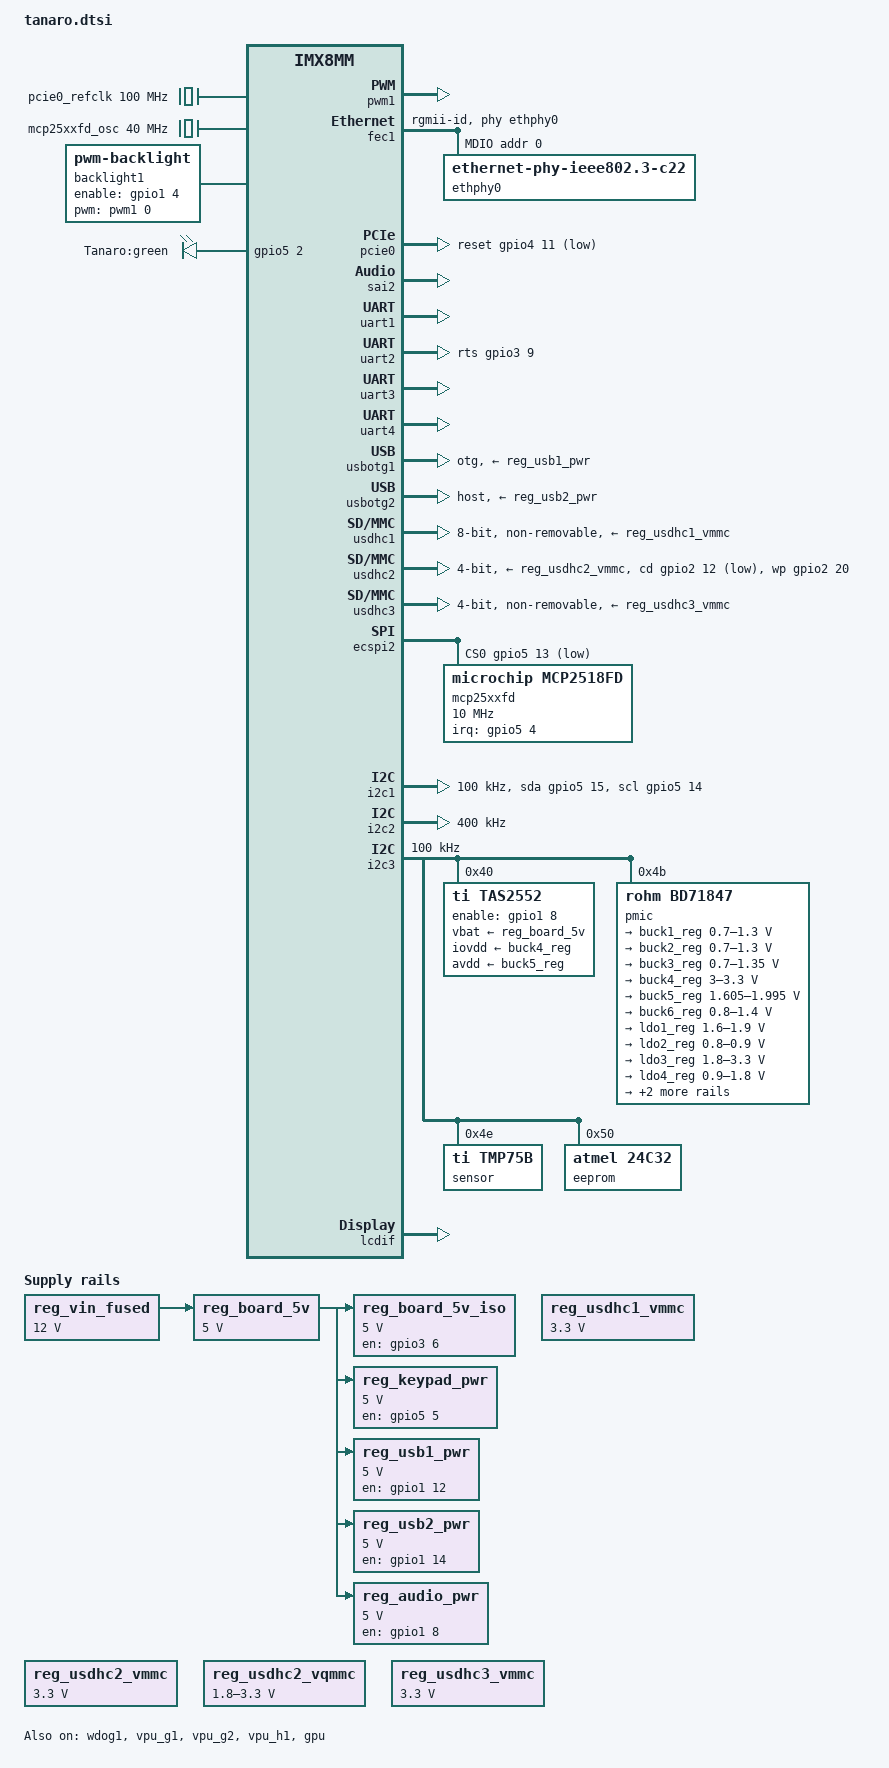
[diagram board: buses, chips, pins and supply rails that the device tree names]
/*
 * Copyright 2020 Keith & Koep GmbH
 */

/*
Switches:

*/

#include "imx8mm.dtsi"
#include "tanaro-pinfunc.h"

/ {
	aliases {
		rtc0 = &rtc;
		rtc1 = &snvs_rtc;
	};

	reserved-memory {
		#address-cells = <2>;
		#size-cells = <2>;
		ranges;

		rpmsg_reserved: rpmsg@0xb8000000 {
			no-map;
			reg = <0 0xb8000000 0 0x400000>;
		};
	};

	pcie0_refclk: pcie0-refclk {
		compatible = "fixed-clock";
		#clock-cells = <0>;
		clock-frequency = <100000000>;
	};

	mcp25xxfd_osc: mcp25xxfd_osc {
		compatible = "fixed-clock";
		#clock-cells = <0>;
		clock-frequency = <40000000>;
	};

	reg_vin_fused: vin_fused {
		compatible = "regulator-fixed";
		regulator-name = "VIN_FUSED";
		regulator-min-microvolt = <12000000>;
		regulator-max-microvolt = <12000000>;
		regulator-always-on;
	};

	reg_board_5v: 5v {
		compatible = "regulator-fixed";
		regulator-name = "+5V";
		regulator-min-microvolt = <5000000>;
		regulator-max-microvolt = <5000000>;
		regulator-always-on;
		vin-supply = <&reg_vin_fused>;
	};

	reg_board_5v_iso: 5v_iso {
		compatible = "regulator-fixed";
		regulator-name = "+5V_ISO";
		regulator-min-microvolt = <5000000>;
		regulator-max-microvolt = <5000000>;
		pinctrl-names = "default";
		pinctrl-0 = <&pinctrl_5v_iso_enable>;
		gpio = <&gpio3 6 1>;
		enable-active-high;
		regulator-always-on;
		vin-supply = <&reg_board_5v>;
	};

	reg_keypad_pwr: keypad-pwr {
		compatible = "regulator-fixed";
		regulator-name = "Keypad PWR";
		regulator-min-microvolt = <5000000>;
		regulator-max-microvolt = <5000000>;
		pinctrl-names = "default";
		pinctrl-0 = <&pinctrl_keypad_pen>;
		gpio = <&gpio5 5 1>;
		enable-active-high;
		regulator-always-on;
		vin-supply = <&reg_board_5v>;
	};

	reg_usb1_pwr: usb1-pwr {
		compatible = "regulator-fixed";
		regulator-name = "USB1 PWR";
		regulator-min-microvolt = <5000000>;
		regulator-max-microvolt = <5000000>;
		pinctrl-names = "default";
		pinctrl-0 = <&pinctrl_usb1_enable>;
		gpio = <&gpio1 12 1>;
		enable-active-high;
		vin-supply = <&reg_board_5v>;
	};

	reg_usb2_pwr: usb2-pwr {
		compatible = "regulator-fixed";
		regulator-name = "USB2 PWR";
		regulator-min-microvolt = <5000000>;
		regulator-max-microvolt = <5000000>;
		pinctrl-names = "default";
		pinctrl-0 = <&pinctrl_usb2_enable>;
		gpio = <&gpio1 14 1>;
		enable-active-high;
		regulator-always-on;
		vin-supply = <&reg_board_5v>;
	};

	reg_usdhc1_vmmc: usdhc1_vmmc {
		compatible = "regulator-fixed";
		regulator-name = "VMMC_USDHC1";
		regulator-min-microvolt = <3300000>;
		regulator-max-microvolt = <3300000>;
		enable-active-high;
	};

	reg_usdhc2_vmmc: regulator-usdhc2 {
		compatible = "regulator-fixed";
		regulator-name = "VMMC_USDHC2";
		regulator-min-microvolt = <3300000>;
		regulator-max-microvolt = <3300000>;
		enable-active-high;
	};

	reg_usdhc2_vqmmc: regulator-usdhc2-vqmmc {
		compatible = "regulator-gpio";
		regulator-name = "VDDIO_USDHC2";
		regulator-min-microvolt = <1800000>;
		regulator-max-microvolt = <3300000>;
		pinctrl-names = "default";
		pinctrl-0 = <&pinctrl_sd_vsel>;
		gpios = <&gpio4 22 GPIO_ACTIVE_HIGH>;
		gpios-states = <1>;
		states = <1800000 1>, <3300000 0>;
	};

	reg_usdhc3_vmmc: regulator-usdhc3 {
		compatible = "regulator-fixed";
		regulator-name = "VMMC_USDHC3";
		regulator-min-microvolt = <3300000>;
		regulator-max-microvolt = <3300000>;
		enable-active-high;
	};

	reg_audio_pwr: audio-pwr {
		compatible = "regulator-fixed";
		regulator-name = "AUDIO PWR";
		regulator-min-microvolt = <5000000>;
		regulator-max-microvolt = <5000000>;
		pinctrl-names = "default";
		pinctrl-0 = <&pinctrl_audio_enable>;
		gpio = <&gpio1 8 1>;
		enable-active-high;
		regulator-always-on;
		vin-supply = <&reg_board_5v>;
	};

	sound-tas2552 {
		compatible = "simple-audio-card";
		simple-audio-card,name = "tas2552-audio";
		simple-audio-card,format = "i2s";
		simple-audio-card,frame-master = <&cpudai>;
		simple-audio-card,bitclock-master = <&cpudai>;

		cpudai: simple-audio-card,cpu {
			sound-dai = <&sai2>;
			dai-tdm-slot-num = <2>;
			dai-tdm-slot-width = <32>;
		};

		simple-audio-card,codec {
			sound-dai = <&tas2552>;
			clocks = <&clk IMX8MM_CLK_SAI2_ROOT>;
		};
	};

	backlight1: backlight {
		compatible = "pwm-backlight";
		pwms = <&pwm1 0 100000 0>;
		brightness-levels = < 0  1  2  3  4  5  6  7  8  9
				     10 11 12 13 14 15 16 17 18 19
				     20 21 22 23 24 25 26 27 28 29
				     30 31 32 33 34 35 36 37 38 39
				     40 41 42 43 44 45 46 47 48 49
				     50 51 52 53 54 55 56 57 58 59
				     60 61 62 63 64 65 66 67 68 69
				     70 71 72 73 74 75 76 77 78 79
				     80 81 82 83 84 85 86 87 88 89
				     90 91 92 93 94 95 96 97 98 99
				    100>;
		default-brightness-level = <80>;
		status = "okay";
	};

	leds {
		compatible = "gpio-leds";

		status_led {
			pinctrl-names         = "default";
			pinctrl-0             = <&pinctrl_led_status>;
			label                 = "Tanaro:green";
			linux,default-trigger = "heartbeat";
			gpios                 = <&gpio5 2 0>;
		};
	};
};

&pwm1 {
	pinctrl-names = "default";
	pinctrl-0 = <&pinctrl_backlight_pwm1>;
	status = "okay";
};

&backlight1 {
	status = "okay";
	pinctrl-names = "default";
	pinctrl-0 = <&pinctrl_backlight_enable>;
	enable-gpios = <&gpio1 4 GPIO_ACTIVE_HIGH>;
};

&A53_0 {
	cpu-supply = <&buck2_reg>;
};

&fec1 {
	pinctrl-names = "default";
	pinctrl-0 = <&pinctrl_fec1>;
	phy-mode = "rgmii-id";
	phy-handle = <&ethphy0>;
	fsl,magic-packet;
	status = "okay";

	mdio {
		#address-cells = <1>;
		#size-cells = <0>;

		ethphy0: ethernet-phy@0 {
			compatible = "ethernet-phy-ieee802.3-c22";
			reg = <0>;
			at803x,eee-disabled;
			at803x,vddio-1p8v;
		};
	};
};

&pcie0{
	pinctrl-names   = "default";
	pinctrl-0       = <&pinctrl_pcie0>;
	disable-gpio    = <&gpio3 3 GPIO_ACTIVE_LOW>;
	reset-gpio      = <&gpio4 11 GPIO_ACTIVE_LOW>;
	clocks          = <&clk IMX8MM_CLK_PCIE1_ROOT>,
			<&clk IMX8MM_CLK_PCIE1_AUX>,
			<&clk IMX8MM_CLK_PCIE1_PHY>,
			<&pcie0_refclk>;
	clock-names = "pcie", "pcie_aux", "pcie_phy", "pcie_bus";
	assigned-clocks = <&clk IMX8MM_CLK_PCIE1_AUX>,
                          <&clk IMX8MM_CLK_PCIE1_PHY>,
                          <&clk IMX8MM_CLK_PCIE1_CTRL>;
        assigned-clock-rates = <10000000>, <100000000>, <250000000>;
        assigned-clock-parents = <&clk IMX8MM_SYS_PLL2_50M>,
                                 <&clk IMX8MM_SYS_PLL2_100M>,
                                 <&clk IMX8MM_SYS_PLL2_250M>;
	hard-wired      = <1>;
	ext_osc         = <0>;
	reserved-region = <&rpmsg_reserved>;
	status = "okay";
};

&sai2 {
	#sound-dai-cells = <0>;
	pinctrl-names = "default";
	pinctrl-0 = <&pinctrl_sai2>;
	assigned-clocks = <&clk IMX8MM_CLK_SAI2>;
	assigned-clock-parents = <&clk IMX8MM_AUDIO_PLL2_OUT>;
	assigned-clock-rates = <22579200>;
	status = "okay";
};

&snvs_pwrkey {
	status = "disabled";
};

&uart1 {    /* UART1 as RS232 or UART*/
	pinctrl-names = "default";
	pinctrl-0 = <&pinctrl_uart1>;
	assigned-clocks = <&clk IMX8MM_CLK_UART1>;
	assigned-clock-parents = <&clk IMX8MM_SYS_PLL1_80M>;
	fsl,uart-has-rtscts;
	status = "okay";
};

&uart2 {    /* UART2 as RS485_1 or UART */
	pinctrl-names = "default";
	pinctrl-0 = <&pinctrl_uart2 &pinctrl_rs485_1_de>;
	assigned-clocks = <&clk IMX8MM_CLK_UART2>;
	assigned-clock-parents = <&clk IMX8MM_SYS_PLL1_80M>;
	status = "okay";

	// RS485 Mode
	rts-gpios = <&gpio3 9 GPIO_ACTIVE_HIGH>; // GPIO to control the transmitter
	// rs485-rx-during-tx;  // Halfduplex vs Fullduplex ?

	// UART Mode
	//uart-has-rtscts; // Not used in RS485 mode.
};

&uart3 {    /* UART3 to BTUART or UART3 (default: UART3). UART3 to as UART or RS232_xx_MDB*/
	pinctrl-names = "default";
	pinctrl-0 = <&pinctrl_uart3>;
	assigned-clocks = <&clk IMX8MM_CLK_UART3>;
	assigned-clock-parents = <&clk IMX8MM_SYS_PLL1_80M>;
	fsl,uart-has-rtscts;
	status = "okay";
};

&uart4 {    /* UART4 to BT_UART or RS485_2 or UART (default: BTUART)*/
	pinctrl-names = "default";
	pinctrl-0 = <&pinctrl_uart4>;
	assigned-clocks = <&clk IMX8MM_CLK_UART4>;
	assigned-clock-parents = <&clk IMX8MM_SYS_PLL1_80M>;
	status = "okay";
};


&usbotg1 {
	dr_mode = "otg";
	vbus-supply = <&reg_usb1_pwr>;
	disable-over-current;
	hnp-disable;
	srp-disable;
	adp-disable;
	picophy,pre-emp-curr-control = <3>;
	picophy,dc-vol-level-adjust = <7>;
	status = "okay";
};

&usbotg2 {
	dr_mode = "host";
	vbus-supply = <&reg_usb2_pwr>;
	disable-over-current;
	hnp-disable;
	srp-disable;
	adp-disable;
	usb-role-switch;
	picophy,pre-emp-curr-control = <3>;
	picophy,dc-vol-level-adjust = <7>;
	status = "okay";
};

&usdhc1 {   /* eMMC */
	assigned-clock-rates = <200000000>;
	pinctrl-names = "default", "state_100mhz", "state_200mhz";
	pinctrl-0 = <&pinctrl_usdhc1>, <&pinctrl_usdhc1_gpio>;
	pinctrl-1 = <&pinctrl_usdhc1_100mhz>, <&pinctrl_usdhc1_gpio>;
	pinctrl-2 = <&pinctrl_usdhc1_200mhz>, <&pinctrl_usdhc1_gpio>;
	bus-width = <8>;
	vmmc-supply = <&reg_usdhc1_vmmc>;
	non-removable;
	status = "okay";
};

&usdhc2 {   /* SD-Card Slot */
	pinctrl-names = "default", "state_100mhz", "state_200mhz";
	pinctrl-0 = <&pinctrl_usdhc2>, <&pinctrl_usdhc2_gpio>;
	pinctrl-1 = <&pinctrl_usdhc2_100mhz>, <&pinctrl_usdhc2_gpio>;
	pinctrl-2 = <&pinctrl_usdhc2_200mhz>, <&pinctrl_usdhc2_gpio>;
	cd-gpios = <&gpio2 12 GPIO_ACTIVE_LOW>;
	wp-gpios = <&gpio2 20 GPIO_ACTIVE_HIGH>;
	bus-width = <4>;
	vmmc-supply = <&reg_usdhc2_vmmc>;
	pm-ignore-notify;
	keep-power-in-suspend;
	vqmmc-supply = <&reg_usdhc2_vqmmc>;
	status = "okay";
};

&usdhc3 {   /* Wifi/BT module */
	pinctrl-names = "default", "state_100mhz", "state_200mhz";
	pinctrl-0 = <&pinctrl_usdhc3>, <&pinctrl_usdhc3_gpio>;
	pinctrl-1 = <&pinctrl_usdhc3_100mhz>, <&pinctrl_usdhc3_gpio>;
	pinctrl-2 = <&pinctrl_usdhc3_200mhz>, <&pinctrl_usdhc3_gpio>;
	bus-width = <4>;
	vmmc-supply = <&reg_usdhc3_vmmc>;
	pm-ignore-notify;
	keep-power-in-suspend;
	non-removable;
	no-1-8-v;
	status = "okay";
};

&ecspi2 {
	#address-cells = <1>;
	#size-cells = <0>;
	fsl,spi-num-chipselects = <1>;
	pinctrl-names = "default";
	pinctrl-0 = <&pinctrl_ecspi2 &pinctrl_ecspi2_cs>;
	cs-gpios = <&gpio5 13 GPIO_ACTIVE_LOW>;
	status = "okay";

	mcp25xxfd: mcp25xxfd@0 {
		compatible = "microchip,mcp2518fd";
		reg = <0>;
		clocks = <&mcp25xxfd_osc>;
		interrupt-parent = <&gpio5>;
		interrupts = <4 IRQ_TYPE_LEVEL_LOW>;
		pinctrl-names = "default";
		pinctrl-0 = <&pinctrl_mcp25xxfd_int>;
		spi-max-frequency = <10000000>;
		status = "okay";
	};
};

&wdog1 {
	pinctrl-names = "default";
	pinctrl-0 = <&pinctrl_wdog>;
	fsl,ext-reset-output;
	status = "okay";
};

&i2c1 { /* Camera and Keypad */
	clock-frequency = <100000>;
	pinctrl-names = "default", "gpio";
	pinctrl-0 = <&pinctrl_i2c1>;
	pinctrl-1 = <&pinctrl_i2c1_gpio>;
	scl-gpios = <&gpio5 14 GPIO_ACTIVE_HIGH>;
	sda-gpios = <&gpio5 15 GPIO_ACTIVE_HIGH>;
	status = "okay";
};

&i2c2 { /* Touch */
	clock-frequency = <400000>;
	pinctrl-names = "default";
	pinctrl-0 = <&pinctrl_i2c2>;
	status = "okay";

	stmpe811@41 {
		compatible = "st,stmpe811";
		reg = <0x41>;
		#address-cells = <1>;
		#size-cells = <0>;

		pinctrl-names = "default";
		pinctrl-0 = <&pinctrl_touchint>;
		interrupts = <4 IRQ_TYPE_LEVEL_LOW>;
		interrupt-parent = <&gpio3>;
		interrupt-controller;

		id = <0>;
		blocks = <0x5>;
		irq-trigger = <0x1>;
		/* Common ADC settings */
		/* 3.25 MHz ADC clock speed */
		st,adc-freq = <1>;
		/* 12-bit ADC */
		st,mod-12b = <1>;
		/* internal ADC reference */
		st,ref-sel = <0>;
		/* ADC converstion time: 80 clocks */
		st,sample-time = <4>;

		status = "disabled";

		stmpe_touchscreen {
			compatible = "st,stmpe-ts";
			reg = <0>;
			/* 8 sample average control */
			st,ave-ctrl = <3>;
			/* 5 ms touch detect interrupt delay */
			st,touch-det-delay = <5>;
			/* 1 ms panel driver settling time */
			st,settling = <3>;
			/* 7 length fractional part in z */
			st,fraction-z = <7>;
			/*
			 * 50 mA typical 80 mA max touchscreen drivers
			 * current limit value
			 */
			st,i-drive = <1>;
		};

		stmpe_adc {
			compatible = "st,stmpe-adc";
			st,norequest-mask = <0x0F>;
		};
	};
};

&i2c3 { /* Internal I2C */
	clock-frequency = <100000>;
	pinctrl-names = "default";
	pinctrl-0 = <&pinctrl_i2c3>;
	status = "okay";

	/*
		The TANARO has two different options for the RTC.
		Which RTC is present is determined during the
		images post-install action. The "rtc" node is
		then updated via an overlay.
		The node has to be updated this way, because
		changing the alias doesn't work and we need
		the RTC to be present as rtc0 (a requirement
		of the hwclock utility).
	*/
	rtc: rtc {
		status = "disabled";
	};

	tas2552: tas2552@40 {
		#sound-dai-cells = <0>;
		compatible = "ti,tas2552";
		reg = <0x40>;
		vbat-supply = <&reg_board_5v>;
		iovdd-supply = <&buck4_reg>;
		avdd-supply = <&buck5_reg>;
		enable-gpio = <&gpio1 8 GPIO_ACTIVE_HIGH>;
	};

	/*
		We are still missing a driver for the A71CH.
		For now, we add the secure element as dummy
		device to the bus.
	*/
	secure_element: a71cf@48 {
		compatible = "";
		pinctrl-0 = <&pinctrl_secure_element>;
		pinctrl-names = "default";
		reg = <0x48>;
		status = "disabled";
	};

	pmic@4b {
		compatible = "rohm,bd71847";
		reg = <0x4b>;
		rohm,reset-snvs-powered;

		regulators {
			buck1_reg: BUCK1 {  // VDD_SOC_0V8
				regulator-name = "BUCK1";
				regulator-min-microvolt = <700000>;
				regulator-max-microvolt = <1300000>;
				regulator-boot-on;
				regulator-always-on;
				regulator-ramp-delay = <1250>;
			};

			buck2_reg: BUCK2 {  // VDD_SOC_0V9
				regulator-name = "BUCK2";
				regulator-min-microvolt = <700000>;
				regulator-max-microvolt = <1300000>;
				regulator-boot-on;
				regulator-always-on;
				regulator-ramp-delay = <1250>;
				rohm,dvs-run-voltage = <1000000>;
				rohm,dvs-idle-voltage = <900000>;
			};

			buck3_reg: BUCK3 {  // VDD_DRAM_PU_0V9
				// BUCK5 in datasheet
				regulator-name = "BUCK3";
				regulator-min-microvolt = <700000>;
				regulator-max-microvolt = <1350000>;
				regulator-boot-on;
				regulator-always-on;
			};

			buck4_reg: BUCK4 {  // +3V3_AUX
				// BUCK6 in datasheet
				regulator-name = "BUCK4";
				regulator-min-microvolt = <3000000>;
				regulator-max-microvolt = <3300000>;
				regulator-boot-on;
				regulator-always-on;
			};

			buck5_reg: BUCK5 {  // VDD_1V8
				// BUCK7 in datasheet
				regulator-name = "BUCK5";
				regulator-min-microvolt = <1605000>;
				regulator-max-microvolt = <1995000>;
				regulator-boot-on;
				regulator-always-on;
			};

			buck6_reg: BUCK6 {  // NVCC_DRAM_1V1
				// BUCK8 in datasheet
				regulator-name = "BUCK6";
				regulator-min-microvolt = <800000>;
				regulator-max-microvolt = <1400000>;
				regulator-boot-on;
				regulator-always-on;
			};

			ldo1_reg: LDO1 {    // NVCC_SNVS_1V8
				regulator-name = "LDO1";
				regulator-min-microvolt = <1600000>;
				regulator-max-microvolt = <1900000>;
				regulator-boot-on;
				regulator-always-on;
			};

			ldo2_reg: LDO2 {    // VDD_SNVS_0V8
				regulator-name = "LDO2";
				regulator-min-microvolt = <800000>;
				regulator-max-microvolt = <900000>;
				regulator-boot-on;
				regulator-always-on;
			};

			ldo3_reg: LDO3 {    // VDDA_1V8
				regulator-name = "LDO3";
				regulator-min-microvolt = <1800000>;
				regulator-max-microvolt = <3300000>;
				regulator-boot-on;
				regulator-always-on;
			};

			ldo4_reg: LDO4 {    // VDD_PHY_0V9
				regulator-name = "LDO4";
				regulator-min-microvolt = <900000>;
				regulator-max-microvolt = <1800000>;
				regulator-boot-on;
				regulator-always-on;
			};

			ldo5_reg: LDO5 {    // VDD_FPGA_MIPI
				regulator-name = "LDO5";
				regulator-min-microvolt = <800000>;
				regulator-max-microvolt = <3300000>;
				regulator-boot-on;
				regulator-always-on;
			};

			ldo6_reg: LDO6 {    // VDD_PHY_1V2
				regulator-name = "LDO6";
				regulator-min-microvolt = <900000>;
				regulator-max-microvolt = <1800000>;
				regulator-boot-on;
				regulator-always-on;
			};
		};
	};

	sensor@4e {
		compatible = "ti,tmp75b";
		reg = <0x4E>;
	};

	eeprom@50 {
		compatible = "atmel,24c32";
		reg = <0x50>;
		pagesize = <32>;
	};
};


&iomuxc {
	pinctrl-names = "default";
	pinctrl-0 = <&pinctrl_hog>;

	pinctrl_hog: hoggrp {
		fsl,pins = <
			CAMERA_PWDN		PAD_GPIO_PU   /* Camera Pwdn  */
			CAMERA_RESET		PAD_GPIO_PU   /* Camera nRST  */
			>;
	};

	pinctrl_fec1: fec1grp {
		fsl,pins = <
			MX8MM_IOMUXC_ENET_MDC_ENET1_MDC			0x3
			MX8MM_IOMUXC_ENET_MDIO_ENET1_MDIO		0x3
			MX8MM_IOMUXC_ENET_TD3_ENET1_RGMII_TD3		0x1f
			MX8MM_IOMUXC_ENET_TD2_ENET1_RGMII_TD2		0x1f
			MX8MM_IOMUXC_ENET_TD1_ENET1_RGMII_TD1		0x1f
			MX8MM_IOMUXC_ENET_TD0_ENET1_RGMII_TD0		0x1f
			MX8MM_IOMUXC_ENET_RD3_ENET1_RGMII_RD3		0x91
			MX8MM_IOMUXC_ENET_RD2_ENET1_RGMII_RD2		0x91
			MX8MM_IOMUXC_ENET_RD1_ENET1_RGMII_RD1		0x91
			MX8MM_IOMUXC_ENET_RD0_ENET1_RGMII_RD0		0x91
			MX8MM_IOMUXC_ENET_TXC_ENET1_RGMII_TXC		0x1f
			MX8MM_IOMUXC_ENET_RXC_ENET1_RGMII_RXC		0x91
			MX8MM_IOMUXC_ENET_RX_CTL_ENET1_RGMII_RX_CTL	0x91
			MX8MM_IOMUXC_ENET_TX_CTL_ENET1_RGMII_TX_CTL	0x1f
			MX8MM_IOMUXC_GPIO1_IO09_GPIO1_IO9		0x19    /* ENET_RESET */
			MX8MM_IOMUXC_GPIO1_IO10_GPIO1_IO10		0x19    /* ENET_WOL */
			MX8MM_IOMUXC_GPIO1_IO11_GPIO1_IO11		0x19    /* ENET_INT */
		>;
	};

	pinctrl_keypad: keypad_grp {
		fsl,pins = <
			MX8MM_IOMUXC_SAI1_RXC_GPIO4_IO1		0x00000116
			MX8MM_IOMUXC_SAI1_RXFS_GPIO4_IO0	0x00000116
			MX8MM_IOMUXC_SAI3_RXFS_GPIO4_IO28	0x00000116
			MX8MM_IOMUXC_SAI3_TXC_GPIO5_IO0		0x00001916
			MX8MM_IOMUXC_SAI3_TXD_GPIO5_IO1		0x00000116
			MX8MM_IOMUXC_SPDIF_TX_GPIO5_IO3		0x00000116
		>;
	};

	pinctrl_i2c1: i2c1grp {
		fsl,pins = <
			MX8MM_IOMUXC_I2C1_SCL_I2C1_SCL			0x400001c3
			MX8MM_IOMUXC_I2C1_SDA_I2C1_SDA			0x400001c3
		>;
	};

	pinctrl_i2c1_gpio: i2c1_gpio_grp {
		fsl,pins = <
			MX8MM_IOMUXC_I2C1_SCL_GPIO5_IO14	0x00000116
			MX8MM_IOMUXC_I2C1_SDA_GPIO5_IO15	0x00000116
		>;
	};

	pinctrl_i2c2: i2c2grp {
		fsl,pins = <
			MX8MM_IOMUXC_I2C2_SCL_I2C2_SCL			0x400001c3
			MX8MM_IOMUXC_I2C2_SDA_I2C2_SDA			0x400001c3
		>;
	};

	pinctrl_touchint: touchintgrp {
		fsl,pins = <
			MX8MM_IOMUXC_NAND_CE3_B_GPIO3_IO4       0x00000016  /* TOUCH_INT */
		>;
	};

	pinctrl_i2c3: i2c3grp {
		fsl,pins = <
			MX8MM_IOMUXC_I2C3_SCL_I2C3_SCL			0x400001c3
			MX8MM_IOMUXC_I2C3_SDA_I2C3_SDA			0x400001c3
		>;
	};

	pinctrl_pcie0: pcie0grp {
		fsl,pins = <
			MX8MM_IOMUXC_NAND_CE2_B_GPIO3_IO3	    0x41       /* PCIE_W_DISABLE     */
			MX8MM_IOMUXC_SAI1_TXC_GPIO4_IO11	    0x00000116 /* PCIE_RESET         */
			MX8MM_IOMUXC_NAND_CE1_B_GPIO3_IO2	    0x41       /* PCIE_WAKE          */
			>;
	};

	pinctrl_sai2: sai2grp {
		fsl,pins = <
			MX8MM_IOMUXC_SAI2_TXFS_SAI2_TX_SYNC	    0xd6
			MX8MM_IOMUXC_SAI2_TXC_SAI2_TX_BCLK	    0xd6
			MX8MM_IOMUXC_SAI2_MCLK_SAI2_MCLK	    0xd6
			MX8MM_IOMUXC_SAI2_TXD0_SAI2_TX_DATA0	0xd6
			MX8MM_IOMUXC_SAI2_RXD0_SAI2_RX_DATA0	0xd6
		>;
	};

	pinctrl_uart1: uart1grp {   /* UART1 as RS232 or UART*/
		fsl,pins = <
			MX8MM_IOMUXC_UART1_RXD_UART1_DCE_RX	0x140
			MX8MM_IOMUXC_UART1_TXD_UART1_DCE_TX	0x140
			MX8MM_IOMUXC_UART3_RXD_UART1_DCE_CTS_B	0x140   /* RTS */
			MX8MM_IOMUXC_UART3_TXD_UART1_DCE_RTS_B	0x140   /* CTS */
		>;
	};

	pinctrl_uart2: uart2grp {   /* UART2 as RS485_1 or UART */
		fsl,pins = <
			MX8MM_IOMUXC_UART2_RXD_UART2_DCE_RX     0x140
			MX8MM_IOMUXC_UART2_TXD_UART2_DCE_TX     0x140
			MX8MM_IOMUXC_SAI3_RXC_UART2_DCE_CTS_B   0x140   /* RTS */
			MX8MM_IOMUXC_SAI3_RXD_UART2_DCE_RTS_B   0x140   /* CTS */
		>;
	};

	pinctrl_uart3: uart3grp {   /* UART3 to BTUART or UART3 (default: UART3). UART3 to as UART or RS232_xx_MDB*/
		fsl,pins = <
			MX8MM_IOMUXC_ECSPI1_SCLK_UART3_DCE_RX		0x140  /* RXD */
			MX8MM_IOMUXC_ECSPI1_MOSI_UART3_DCE_TX		0x140  /* TXD */
			MX8MM_IOMUXC_ECSPI1_MISO_UART3_DCE_CTS_B	0x140  /* RTS */
			MX8MM_IOMUXC_ECSPI1_SS0_UART3_DCE_RTS_B		0x140  /* CTS */
		>;
	};

	pinctrl_uart4: uart4grp {   /* UART4 to BT_UART or RS485_2 or UART (default: BTUART)*/
		fsl,pins = <
			MX8MM_IOMUXC_UART4_RXD_UART4_DCE_RX	0x140
			MX8MM_IOMUXC_UART4_TXD_UART4_DCE_TX	0x140
			MX8MM_IOMUXC_NAND_DATA02_GPIO3_IO8	0x140   /* DE/CTS; DE for RS485, CTS for BT */
		>;
	};

	pinctrl_usdhc1_gpio: usdhc1grpgpio {
		fsl,pins = <
			MX8MM_IOMUXC_SD1_RESET_B_USDHC1_RESET_B	0xc1
		>;
	};

	pinctrl_usdhc1: usdhc1grp {
		fsl,pins = <
			MX8MM_IOMUXC_SD1_CLK_USDHC1_CLK		0x190
			MX8MM_IOMUXC_SD1_CMD_USDHC1_CMD		0x1d0
			MX8MM_IOMUXC_SD1_DATA0_USDHC1_DATA0	0x1d0
			MX8MM_IOMUXC_SD1_DATA1_USDHC1_DATA1	0x1d0
			MX8MM_IOMUXC_SD1_DATA2_USDHC1_DATA2	0x1d0
			MX8MM_IOMUXC_SD1_DATA3_USDHC1_DATA3	0x1d0
			MX8MM_IOMUXC_SD1_DATA4_USDHC1_DATA4	0x1d0
			MX8MM_IOMUXC_SD1_DATA5_USDHC1_DATA5	0x1d0
			MX8MM_IOMUXC_SD1_DATA6_USDHC1_DATA6	0x1d0
			MX8MM_IOMUXC_SD1_DATA7_USDHC1_DATA7	0x1d0
			MX8MM_IOMUXC_SD1_STROBE_USDHC1_STROBE	0x190
		>;
	};

	pinctrl_usdhc1_100mhz: usdhc1grp100mhz {
		fsl,pins = <
			MX8MM_IOMUXC_SD1_CLK_USDHC1_CLK		0x190
			MX8MM_IOMUXC_SD1_CMD_USDHC1_CMD		0x1d0
			MX8MM_IOMUXC_SD1_DATA0_USDHC1_DATA0	0x1d0
			MX8MM_IOMUXC_SD1_DATA1_USDHC1_DATA1	0x1d0
			MX8MM_IOMUXC_SD1_DATA2_USDHC1_DATA2	0x1d0
			MX8MM_IOMUXC_SD1_DATA3_USDHC1_DATA3	0x1d0
			MX8MM_IOMUXC_SD1_DATA4_USDHC1_DATA4	0x1d0
			MX8MM_IOMUXC_SD1_DATA5_USDHC1_DATA5	0x1d0
			MX8MM_IOMUXC_SD1_DATA6_USDHC1_DATA6	0x1d0
			MX8MM_IOMUXC_SD1_DATA7_USDHC1_DATA7	0x1d0
			MX8MM_IOMUXC_SD1_STROBE_USDHC1_STROBE	0x190
		>;
	};

	pinctrl_usdhc1_200mhz: usdhc1grp200mhz {
		fsl,pins = <
			MX8MM_IOMUXC_SD1_CLK_USDHC1_CLK		0x190
			MX8MM_IOMUXC_SD1_CMD_USDHC1_CMD		0x1d0
			MX8MM_IOMUXC_SD1_DATA0_USDHC1_DATA0	0x1d0
			MX8MM_IOMUXC_SD1_DATA1_USDHC1_DATA1	0x1d0
			MX8MM_IOMUXC_SD1_DATA2_USDHC1_DATA2	0x1d0
			MX8MM_IOMUXC_SD1_DATA3_USDHC1_DATA3	0x1d0
			MX8MM_IOMUXC_SD1_DATA4_USDHC1_DATA4	0x1d0
			MX8MM_IOMUXC_SD1_DATA5_USDHC1_DATA5	0x1d0
			MX8MM_IOMUXC_SD1_DATA6_USDHC1_DATA6	0x1d0
			MX8MM_IOMUXC_SD1_DATA7_USDHC1_DATA7	0x1d0
			MX8MM_IOMUXC_SD1_STROBE_USDHC1_STROBE	0x190
		>;
	};

	pinctrl_usdhc2_gpio: usdhc2grpgpio {
		fsl,pins = <
			MX8MM_IOMUXC_SD2_CD_B_GPIO2_IO12	0x1c4   /* SD2_DET */
			MX8MM_IOMUXC_SD2_WP_GPIO2_IO20		0x1c4   /* SD2_WP */
		>;
	};

	pinctrl_usdhc2: usdhc2grp {
		fsl,pins = <
			MX8MM_IOMUXC_SD2_CLK_USDHC2_CLK		0x190
			MX8MM_IOMUXC_SD2_CMD_USDHC2_CMD		0x1d0
			MX8MM_IOMUXC_SD2_DATA0_USDHC2_DATA0	0x1d0
			MX8MM_IOMUXC_SD2_DATA1_USDHC2_DATA1	0x1d0
			MX8MM_IOMUXC_SD2_DATA2_USDHC2_DATA2	0x1d0
			MX8MM_IOMUXC_SD2_DATA3_USDHC2_DATA3	0x1d0
		>;
	};

	pinctrl_usdhc2_100mhz: usdhc2grp100mhz {
		fsl,pins = <
			MX8MM_IOMUXC_SD2_CLK_USDHC2_CLK		0x194
			MX8MM_IOMUXC_SD2_CMD_USDHC2_CMD		0x1d4
			MX8MM_IOMUXC_SD2_DATA0_USDHC2_DATA0	0x1d4
			MX8MM_IOMUXC_SD2_DATA1_USDHC2_DATA1	0x1d4
			MX8MM_IOMUXC_SD2_DATA2_USDHC2_DATA2	0x1d4
			MX8MM_IOMUXC_SD2_DATA3_USDHC2_DATA3	0x1d4
		>;
	};

	pinctrl_usdhc2_200mhz: usdhc2grp200mhz {
		fsl,pins = <
			MX8MM_IOMUXC_SD2_CLK_USDHC2_CLK		0x196
			MX8MM_IOMUXC_SD2_CMD_USDHC2_CMD		0x1d6
			MX8MM_IOMUXC_SD2_DATA0_USDHC2_DATA0	0x1d6
			MX8MM_IOMUXC_SD2_DATA1_USDHC2_DATA1	0x1d6
			MX8MM_IOMUXC_SD2_DATA2_USDHC2_DATA2	0x1d6
			MX8MM_IOMUXC_SD2_DATA3_USDHC2_DATA3	0x1d6
		>;
	};

	pinctrl_sd_vsel: sdvselgrp {
		 fsl,pins = < MX8MM_IOMUXC_SAI2_RXC_GPIO4_IO22	0x16 >;
	};

	pinctrl_usdhc3_gpio: usdhc3grpgpio {
		fsl,pins = <
			MX8MM_IOMUXC_GPIO1_IO07_GPIO1_IO7	0x1c4   /* WL_HOST_WAKE */
			MX8MM_IOMUXC_I2C4_SDA_GPIO5_IO21    0x1c4   /* WL_DIS */
			MX8MM_IOMUXC_NAND_RE_B_GPIO3_IO15   0x1c4   /* BT_WAKE */
			MX8MM_IOMUXC_NAND_ALE_GPIO3_IO0     0x1c4   /* BT_HOST_WAKE */
			MX8MM_IOMUXC_I2C4_SCL_GPIO5_IO20    0x1c4   /* BT_DIS */
		>;
	};

	pinctrl_usdhc3: usdhc3grp {
		fsl,pins = <
			MX8MM_IOMUXC_NAND_WE_B_USDHC3_CLK       0x190
			MX8MM_IOMUXC_NAND_WP_B_USDHC3_CMD	    0x1d0
			MX8MM_IOMUXC_NAND_DATA04_USDHC3_DATA0	0x1d0
			MX8MM_IOMUXC_NAND_DATA05_USDHC3_DATA1	0x1d0
			MX8MM_IOMUXC_NAND_DATA06_USDHC3_DATA2	0x1d0
			MX8MM_IOMUXC_NAND_DATA07_USDHC3_DATA3	0x1d0
		>;
	};

	pinctrl_usdhc3_100mhz: usdhc3grp100mhz {
		fsl,pins = <
			MX8MM_IOMUXC_NAND_WE_B_USDHC3_CLK	0x194
			MX8MM_IOMUXC_NAND_WP_B_USDHC3_CMD	0x1d4
			MX8MM_IOMUXC_NAND_DATA04_USDHC3_DATA0	0x1d4
			MX8MM_IOMUXC_NAND_DATA05_USDHC3_DATA1	0x1d4
			MX8MM_IOMUXC_NAND_DATA06_USDHC3_DATA2	0x1d4
			MX8MM_IOMUXC_NAND_DATA07_USDHC3_DATA3	0x1d4
		>;
	};

	pinctrl_usdhc3_200mhz: usdhc3grp200mhz {
		fsl,pins = <
			MX8MM_IOMUXC_NAND_WE_B_USDHC3_CLK	0x196
			MX8MM_IOMUXC_NAND_WP_B_USDHC3_CMD	0x1d6
			MX8MM_IOMUXC_NAND_DATA04_USDHC3_DATA0	0x1d6
			MX8MM_IOMUXC_NAND_DATA05_USDHC3_DATA1	0x1d6
			MX8MM_IOMUXC_NAND_DATA06_USDHC3_DATA2	0x1d6
			MX8MM_IOMUXC_NAND_DATA07_USDHC3_DATA3	0x1d6
		>;
	};

	pinctrl_ecspi2: ecspi2grp {
		fsl,pins = <
			MX8MM_IOMUXC_ECSPI2_SCLK_ECSPI2_SCLK		0x82
			MX8MM_IOMUXC_ECSPI2_MOSI_ECSPI2_MOSI		0x82
			MX8MM_IOMUXC_ECSPI2_MISO_ECSPI2_MISO		0x82
		>;
	};

	pinctrl_mcp25xxfd_int: mcp25xxfdintgrp {
		fsl,pins = < MX8MM_IOMUXC_SPDIF_RX_GPIO5_IO4	0x80000000 >;
	};

	pinctrl_ecspi2_cs: ecspi2cs {
		fsl,pins = < MX8MM_IOMUXC_ECSPI2_SS0_GPIO5_IO13		0x40000 >;
	};

	pinctrl_backlight_pwm1: pwm-backlight {
		fsl,pins = < MX8MM_IOMUXC_GPIO1_IO01_PWM1_OUT	0x16 >;	/* BL_PWM */
	};

	pinctrl_backlight_enable: backlight-enable {
		fsl,pins = < MX8MM_IOMUXC_GPIO1_IO04_GPIO1_IO4  0x16 >;	/* BL_EN */
	};

	pinctrl_wdog: wdoggrp {
		fsl,pins = < MX8MM_IOMUXC_GPIO1_IO02_WDOG1_WDOG_B	0xc6 >;
	};

	pinctrl_led_status: led-status {
		fsl,pins = < MX8MM_IOMUXC_SAI3_MCLK_GPIO5_IO2		0xc6 >;
	};

	pinctrl_5v_iso_enable: 5v-iso-enable {
		fsl,pins = < MX8MM_IOMUXC_NAND_DATA00_GPIO3_IO6		PAD_GPIO >;
	};

	pinctrl_rs485_1_de: rs485-1-de {
		fsl,pins = < MX8MM_IOMUXC_NAND_DATA03_GPIO3_IO9		PAD_GPIO >;
	};

	pinctrl_keypad_pen: keypad-enable {
		fsl,pins = < MX8MM_IOMUXC_SPDIF_EXT_CLK_GPIO5_IO5	PAD_GPIO >;
	};

	pinctrl_usb1_enable: usb1-enable {
		fsl,pins = < MX8MM_IOMUXC_GPIO1_IO12_GPIO1_IO12		PAD_GPIO >;
	};

	pinctrl_usb2_enable: usb2-enable {
		fsl,pins = < MX8MM_IOMUXC_GPIO1_IO14_GPIO1_IO14		PAD_GPIO >;
	};

	pinctrl_audio_enable: audio-enable {
		fsl,pins = < MX8MM_IOMUXC_GPIO1_IO08_GPIO1_IO8		PAD_GPIO_PU >;
	};

	pinctrl_secure_element: secure-element {
		fsl,pins = <
			MX8MM_IOMUXC_NAND_DQS_GPIO3_IO14	0x00000116 /* Reset */
		>;
	};
};

&gpio3 {
	gpio-line-names = "", "", "", "", "", "", "", "",
			"", "", "", "", "", "", "TPM_RESET", "",
			"", "", "", "", "", "", "", "",
			"", "", "", "", "", "", "", "";
};

&gpio4 {
	pinctrl-names = "default";
	pinctrl-0 = <&pinctrl_keypad>;
	gpio-line-names = "KP7", "KP8", "", "", "", "", "", "",
			"", "", "", "", "", "", "", "",
			"", "", "", "", "", "", "", "",
			"", "", "", "", "KP5", "", "", "";
};

&gpio5 {
	gpio-line-names = "KP3", "KP4", "", "KP6", "", "", "", "",
			"", "", "", "", "", "", "", "",
			"", "", "", "", "", "", "", "",
			"", "", "", "", "", "", "", "";
};

&lcdif {
	status = "okay";
};

&vpu_g1 {
	status = "okay";
};

&vpu_g2 {
	status = "okay";
};

&vpu_h1 {
	status = "okay";
};

&gpu {
	status = "okay";
};
